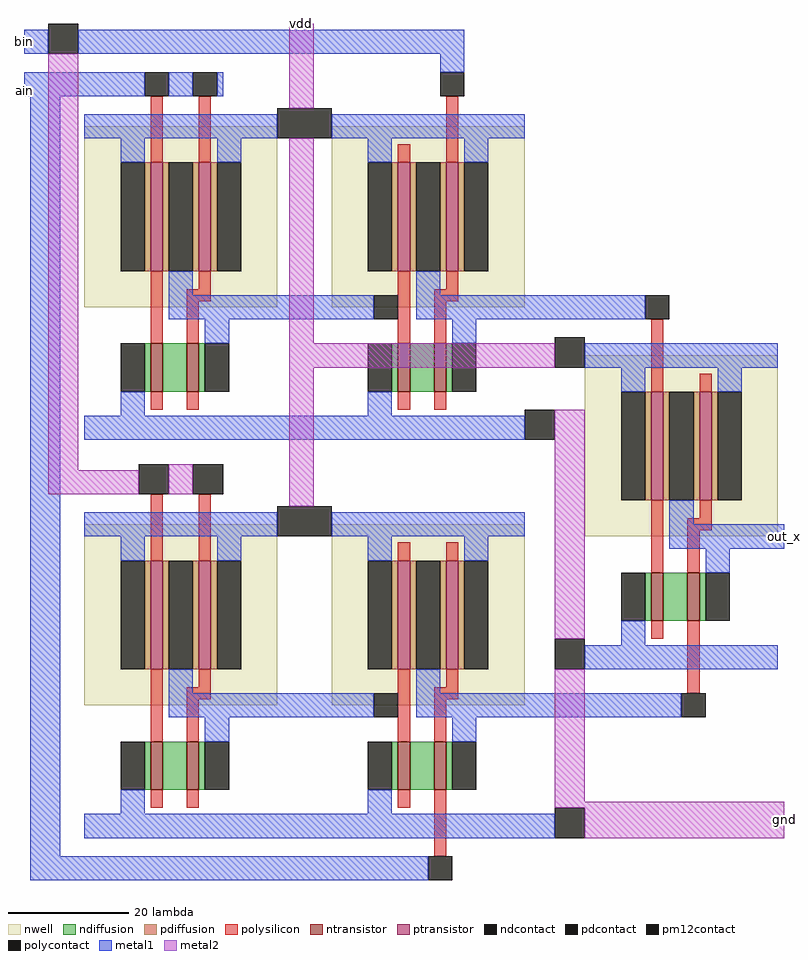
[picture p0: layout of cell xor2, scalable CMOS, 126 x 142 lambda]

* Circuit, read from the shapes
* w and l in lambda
.subckt xor2 ain bin gnd out_x vdd
M1 n1 bin gnd VSUBS nfet w=8 l=2
M2 n2 ain gnd VSUBS nfet w=8 l=2
M3 nand2_3/a bin n1 VSUBS nfet w=8 l=2
M4 nand2_1/a ain n2 VSUBS nfet w=8 l=2
M5 n3 nand2_3/a gnd VSUBS nfet w=8 l=2
M6 n4 nand2_1/a gnd VSUBS nfet w=8 l=2
M7 nand2_4/b ain n3 VSUBS nfet w=8 l=2
M8 nand2_4/a bin n4 VSUBS nfet w=8 l=2
M9 n5 nand2_4/a gnd VSUBS nfet w=8 l=2
M10 out_x nand2_4/b n5 VSUBS nfet w=8 l=2
M11 nand2_3/a bin vdd n6 pfet w=18 l=2 m=2
M12 nand2_1/a ain vdd n7 pfet w=18 l=2 m=2
M13 nand2_4/b nand2_3/a vdd n8 pfet w=18 l=2
M14 nand2_4/a nand2_1/a vdd n9 pfet w=18 l=2
M15 vdd ain nand2_4/b n8 pfet w=18 l=2
M16 vdd bin nand2_4/a n9 pfet w=18 l=2
M17 out_x nand2_4/a vdd n10 pfet w=18 l=2
M18 vdd nand2_4/b out_x n10 pfet w=18 l=2
.ends

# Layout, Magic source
magic
tech scmos
<< polysilicon >>
rect -46 44 -44 52
rect -38 44 -36 52
rect 3 44 5 52
rect 37 6 39 15
rect -46 -22 -44 -14
rect -38 -22 -36 -14
rect 43 -47 45 -38
rect 1 -74 3 -66
<< polycontact >>
rect -47 52 -43 56
rect -39 52 -35 56
rect 2 52 6 56
rect -9 15 -5 19
rect 36 15 40 19
rect -9 -51 -5 -47
rect 42 -51 46 -47
rect 0 -78 4 -74
<< metal1 >>
rect -67 59 -63 63
rect -58 59 6 63
rect 2 56 6 59
rect -67 52 -47 56
rect -43 52 -39 56
rect -35 52 -34 56
rect -66 -74 -61 52
rect -25 15 -9 19
rect 16 15 36 19
rect -25 -5 -16 -1
rect 58 -23 59 -19
rect -25 -51 -9 -47
rect 16 -51 42 -47
rect -25 -71 -16 -67
rect 16 -71 21 -67
rect -66 -78 0 -74
<< pm12contact >>
rect -63 59 -58 64
rect -25 45 -16 50
rect 21 7 26 12
rect 16 -5 21 0
rect -48 -14 -43 -9
rect -39 -14 -34 -9
rect -25 -21 -16 -16
rect 21 -43 26 -38
rect 21 -71 26 -66
<< metal2 >>
rect -63 -10 -58 59
rect -23 50 -19 64
rect -23 11 -19 45
rect -23 7 21 11
rect -63 -14 -48 -10
rect -43 -14 -39 -9
rect -23 -16 -19 7
rect 21 -38 26 0
rect 21 -65 26 -43
rect 21 -66 59 -65
rect 26 -71 59 -66
use nand2  nand2_0
transform 1 0 -42 0 1 10
box -15 -15 17 39
use nand2  nand2_1
transform 1 0 -1 0 1 10
box -15 -15 17 39
use nand2  nand2_2
transform 1 0 -42 0 1 -56
box -15 -15 17 39
use nand2  nand2_3
transform 1 0 -1 0 1 -56
box -15 -15 17 39
use nand2  nand2_4
transform 1 0 41 0 1 -28
box -15 -15 17 39
<< labels >>
rlabel metal1 -67 53 -67 53 4 ain
rlabel metal1 -67 61 -67 61 4 bin
rlabel metal1 59 -21 59 -21 7 out_x
rlabel metal2 59 -68 59 -68 7 gnd
rlabel metal2 -21 64 -21 64 5 vdd
<< end >>

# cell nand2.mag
magic
tech scmos
<< nwell >>
rect -15 7 17 37
<< polysilicon >>
rect -4 31 -2 34
rect 4 31 6 34
rect -4 1 -2 13
rect 4 10 6 13
rect 2 8 6 10
rect 2 1 4 8
rect -4 -10 -2 -7
rect 2 -10 4 -7
<< ndiffusion >>
rect -5 -7 -4 1
rect -2 -7 2 1
rect 4 -7 5 1
<< pdiffusion >>
rect -5 13 -4 31
rect -2 13 -1 31
rect 3 13 4 31
rect 6 13 7 31
<< metal1 >>
rect -15 35 17 39
rect -9 31 -5 35
rect 7 31 11 35
rect -1 9 3 13
rect -1 5 17 9
rect 5 1 9 5
rect -9 -11 -5 -7
rect -15 -15 17 -11
<< ntransistor >>
rect -4 -7 -2 1
rect 2 -7 4 1
<< ptransistor >>
rect -4 13 -2 31
rect 4 13 6 31
<< ndcontact >>
rect -9 -7 -5 1
rect 5 -7 9 1
<< pdcontact >>
rect -9 13 -5 31
rect -1 13 3 31
rect 7 13 11 31
<< labels >>
rlabel metal1 -8 -13 -8 -13 1 gnd
rlabel metal1 -8 37 -8 37 5 vdd
rlabel metal1 14 7 14 7 7 out
rlabel polysilicon -3 34 -3 34 5 a
rlabel polysilicon 5 34 5 34 5 b
<< end >>
